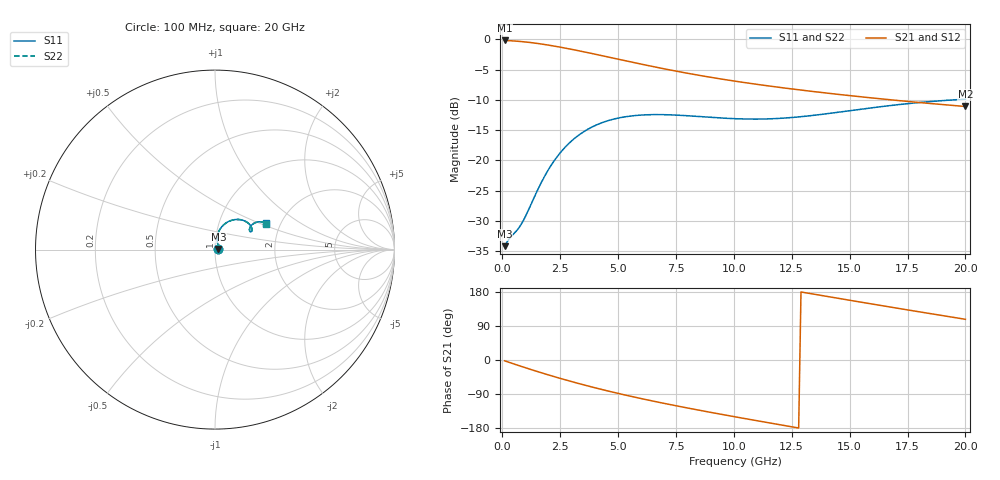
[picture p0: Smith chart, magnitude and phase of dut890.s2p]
! Touchstone file exported from HFSS 2024.1.0
!  File:  C:/UserFiles/LocalFiles/RDL_TSV_Batchsim/temp_RDL_TSV_890_1779932118.aedt
!  Generated:  09:49:36 AM May 28, 2026
!  Design:  RDL_TSV
!  Project:  temp_RDL_TSV_890_1779932118
!  Setup:  Setup1
!  Solution:  Sweep
! Variables:
!  dtsv = 7.05um
!  hbump = 3um
!  htsv = 70.97um
!  ldown = 658.24um
!  lrdl = 469.64um
!  p = 40
!  p1 = 55.84um
!  rhole = 10um
!  subl = 3853.28um
!  t = 450um
!  tdown = 2.06um
!  trdl = 4.03um
!  viad = 10um
!  wdown = 27.86um
!  wrdl = 29.26um
!  xbump = 18um
# GHz S MA R 50.000000
! Terminal data exported
! Port[1] = TM1_1_T1
! Port[2] = TM1_4_T1
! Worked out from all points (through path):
!   200 points, 100 MHz to 20 GHz, reference 50 ohm
!   highest |S21| = -0.17 dB at 100 MHz (marker M1); lowest = -11.1 dB at 20 GHz (marker M2)
!   group delay of S21, straight-line fit = 33.3 ps
!   lowest |S11| = -34.2 dB at 100 MHz (marker M3), VSWR 1.04, Z = 51.9 + j0.391 ohm
!   |S11| at or under -10 dB: start of sweep to 19.5 GHz
!   |S22| runs from -34.2 to -9.9 dB; largest |S21 - S12| = 7.6e-15
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0.1  0.01948 11.1  0.9805 -2.1  0.9805 -2.1  0.01948 11.1
! Gamma 0 0 0 0
! Port Impedance 50 0 50 0
0.3  0.02245 25.4  0.9766 -6.4  0.9766 -6.4  0.02245 25.4
0.5  0.02474 36.1  0.9713 -10.4  0.9713 -10.4  0.02475 36.1
0.9  0.0315 58.6  0.9572 -18.5  0.9572 -18.5  0.03149 58.5
1.4  0.05047 76.1  0.9331 -28.3  0.9331 -28.3  0.05042 76.1
1.8  0.0722 80.0  0.9097 -35.8  0.9097 -35.8  0.07211 79.9
2.2  0.09659 78.9  0.8837 -43.2  0.8837 -43.2  0.09646 78.9
2.6  0.1214 75.5  0.8561 -50.2  0.8561 -50.2  0.1213 75.4
3  0.1451 71.0  0.8276 -57.1  0.8276 -57.1  0.1449 70.9
3.5  0.1716 64.8  0.7914 -65.4  0.7914 -65.4  0.1714 64.8
4.2  0.2011 56.3  0.7413 -76.3  0.7413 -76.3  0.2008 56.2
5.1  0.2254 46.5  0.6801 -89.6  0.6801 -89.6  0.2251 46.5
5.9  0.236 39.4  0.6305 -100.5  0.6305 -100.5  0.2357 39.3
6.8  0.2388 33.3  0.5809 -112.1  0.5809 -112.1  0.2386 33.2
8.3  0.2317 27.4  0.5125 -130.2  0.5125 -130.2  0.2314 27.3
10.1  0.2207 26.6  0.45 -150.5  0.45 -150.5  0.2204 26.5
11.7  0.2209 29.5  0.4075 -167.8  0.4075 -167.8  0.2205 29.5
13.4  0.2349 32.9  0.3712 174.3  0.3712 174.3  0.2345 32.8
15.1  0.2586 34.0  0.3413 156.6  0.3413 156.6  0.2581 34.0
16.7  0.283 33.0  0.3175 140.3  0.3175 140.3  0.2823 32.9
18.3  0.3041 30.5  0.2972 124.2  0.2972 124.2  0.3035 30.4
20  0.3202 27.0  0.2789 107.4  0.2789 107.4  0.3195 26.9
